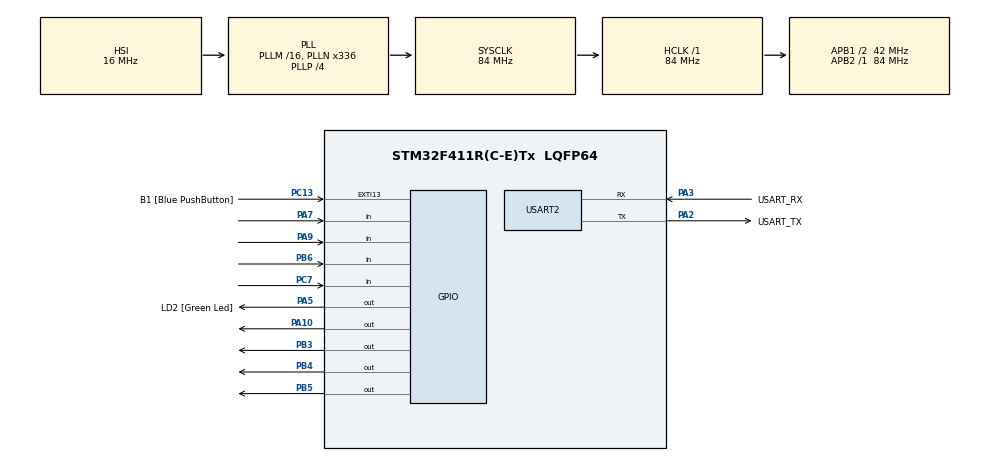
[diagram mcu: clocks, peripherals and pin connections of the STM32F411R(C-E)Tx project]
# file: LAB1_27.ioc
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Mcu.Family=STM32F4
Mcu.Name=STM32F411R(C-E)Tx
Mcu.Package=LQFP64
NVIC.PriorityGroup=NVIC_PRIORITYGROUP_0
PA10.PinState=GPIO_PIN_SET
PA10.Signal=GPIO_Output
PA13.GPIO_Label=TMS
PA13.Mode=Serial_Wire
PA13.Signal=SYS_JTMS-SWDIO
PA14.GPIO_Label=TCK
PA14.Mode=Serial_Wire
PA14.Signal=SYS_JTCK-SWCLK
PA2.GPIO_Label=USART_TX
PA2.Mode=Asynchronous
PA2.Signal=USART2_TX
PA3.GPIO_Label=USART_RX
PA3.Mode=Asynchronous
PA3.Signal=USART2_RX
PA5.GPIO_Label=LD2 [Green Led]
PA5.Signal=GPIO_Output
PA7.GPIO_PuPd=GPIO_PULLUP
PA7.Signal=GPIO_Input
PA9.GPIO_PuPd=GPIO_PULLUP
PA9.Signal=GPIO_Input
PB3.PinState=GPIO_PIN_SET
PB3.Signal=GPIO_Output
PB4.PinState=GPIO_PIN_SET
PB4.Signal=GPIO_Output
PB5.PinState=GPIO_PIN_SET
PB5.Signal=GPIO_Output
PB6.GPIO_PuPd=GPIO_PULLUP
PB6.Signal=GPIO_Input
PC13-ANTI_TAMP.GPIO_Label=B1 [Blue PushButton]
PC13-ANTI_TAMP.GPIO_ModeDefaultEXTI=GPIO_MODE_IT_FALLING
PC13-ANTI_TAMP.Signal=GPXTI13
PC14-OSC32_IN.Mode=LSE-External-Oscillator
PC14-OSC32_IN.Signal=RCC_OSC32_IN
PC15-OSC32_OUT.Mode=LSE-External-Oscillator
PC15-OSC32_OUT.Signal=RCC_OSC32_OUT
PC7.GPIO_PuPd=GPIO_PULLUP
PC7.Signal=GPIO_Input
PH0\ -\ OSC_IN.Mode=HSE-External-Clock-Source
PH0\ -\ OSC_IN.Signal=RCC_OSC_IN
PH1\ -\ OSC_OUT.Mode=HSE-External-Clock-Source
PH1\ -\ OSC_OUT.Signal=RCC_OSC_OUT
ProjectManager.HeapSize=0x200
ProjectManager.StackSize=0x400
ProjectManager.TargetToolchain=STM32CubeIDE
RCC.48MHZClocksFreq_Value=84000000
RCC.AHBFreq_Value=84000000
RCC.APB1CLKDivider=RCC_HCLK_DIV2
RCC.APB1Freq_Value=42000000
RCC.APB1TimFreq_Value=84000000
RCC.APB2Freq_Value=84000000
RCC.APB2TimFreq_Value=84000000
RCC.CortexFreq_Value=84000000
RCC.FLatency-AdvancedSettings=FLASH_LATENCY_2
RCC.HCLKFreq_Value=84000000
RCC.HSE_VALUE=8000000
RCC.HSI_VALUE=16000000
RCC.PLLN=336
RCC.PLLP=RCC_PLLP_DIV4
RCC.SYSCLKFreq_VALUE=84000000
RCC.SYSCLKSource=RCC_SYSCLKSOURCE_PLLCLK
RCC.VCOOutputFreq_Value=336000000
USART2.VirtualMode=VM_ASYNC
board=NUCLEO-F411RE

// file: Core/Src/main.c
/* USER CODE BEGIN Header */
/**
  ******************************************************************************
  * @file           : main.c
  * @brief          : Main program body
  ******************************************************************************
  * @attention
  *
  * Copyright (c) 2023 STMicroelectronics.
  * All rights reserved.
  *
  * This software is licensed under terms that can be found in the LICENSE file
  * in the root directory of this software component.
  * If no LICENSE file comes with this software, it is provided AS-IS.
  *
  ******************************************************************************
  */
/* USER CODE END Header */
#include "main.h"

/* USER CODE BEGIN Includes */
//TANAPAT SEINGSAI
/* USER CODE END Includes */

UART_HandleTypeDef huart2;

/* USER CODE BEGIN PV */
typedef struct PortPin
{
	GPIO_TypeDef* PORT;
	uint16_t PIN;
} PortPin;

PortPin R[4] =
{
	{GPIOA,GPIO_PIN_10},
	{GPIOB,GPIO_PIN_3},
	{GPIOB,GPIO_PIN_5},
	{GPIOB,GPIO_PIN_4}
};

PortPin L[4] =
{
	{GPIOA,GPIO_PIN_9},
	{GPIOC,GPIO_PIN_7},
	{GPIOB,GPIO_PIN_6},
	{GPIOA,GPIO_PIN_7}
};

uint16_t ButtonMatrix = 0;
int state = 0;
int Push_B = 0;
uint16_t ButtonMatrix_I = 0;
int n = 0;
/* USER CODE END PV */

void SystemClock_Config(void);
static void MX_GPIO_Init(void);
static void MX_USART2_UART_Init(void);
/* USER CODE BEGIN PFP */
void ReadMatrixButton_1Row();
/* USER CODE END PFP */

int main(void)
{

  /* MCU Configuration--------------------------------------------------------*/

  /* Reset of all peripherals, Initializes the Flash interface and the Systick. */
  HAL_Init();

  /* Configure the system clock */
  SystemClock_Config();

  /* Initialize all configured peripherals */
  MX_GPIO_Init();
  MX_USART2_UART_Init();

  /* Infinite loop */
  while (1)
  {
//		HAL_GPIO_WritePin(GPIOA, GPIO_PIN_5, 1);

    /* USER CODE BEGIN 3 */
		static uint32_t timestamp = 0;
		if (HAL_GetTick() >= timestamp) {
			timestamp = HAL_GetTick() + 10;
			ReadMatrixButton_1Row();
			//Check rising edge
			if (ButtonMatrix > ButtonMatrix_I)
			{
				Push_B = 1;
			}
			else
			{
				Push_B = 0;
			}
			ButtonMatrix_I = ButtonMatrix;
			//Student number : 64340500027
			switch (state) {
			case 0: //state init
				if (ButtonMatrix == 0) {
					state = 0;
					HAL_GPIO_WritePin(GPIOA, GPIO_PIN_5, 0);
				}
				if (ButtonMatrix == 512 && Push_B == 1) {
					state = 1;
					n += 1;
				}
				if (ButtonMatrix != 512 && Push_B == 1) {
					state = 13;
				}
				if (ButtonMatrix == 8192 && Push_B == 1) {
					state = 0;
				}
				break;

			case 1: //6
				if (ButtonMatrix == 2 && Push_B == 1) {
					state = 2;
					n += 1;
				}
				if (ButtonMatrix != 2 && Push_B == 1) {
					state = 13;
				}
				if (ButtonMatrix == 4096 && Push_B == 1) {
					state = 0;
					n = 0;
				}
				if (ButtonMatrix == 8192 && Push_B == 1) {
					state = 0;
					n = n-1;
				}
				break;

			case 2: //64
				if (ButtonMatrix == 1024 && Push_B == 1) {
					state = 3;
					n += 1;
				}
				if (ButtonMatrix != 1024 && Push_B == 1) {
					state = 13;
				}
				if (ButtonMatrix == 4096 && Push_B == 1) {
					state = 0;
					n = 0;
				}
				if (ButtonMatrix == 8192 && Push_B == 1) {
					state = 1;
					n = n-1;
				}
				break;

			case 3: //643
				if (ButtonMatrix == 2 && Push_B == 1) {
					state = 4;
					n += 1;
				}
				if (ButtonMatrix != 2 && Push_B == 1) {
					state = 13;
				}
				if (ButtonMatrix == 4096 && Push_B == 1) {
					state = 0;
					n = 0;
				}
				if (ButtonMatrix == 8192 && Push_B == 1) {
					state = 2;
					n = n-1;
				}
				break;

			case 4: //6434
				if (ButtonMatrix == 8 && Push_B == 1) {
					state = 5;
					n += 1;
				}
				if (ButtonMatrix != 8 && Push_B == 12) {
					state = 13;
				}
				if (ButtonMatrix == 4096 && Push_B == 1) {
					state = 0;
					n = 0;
				}
				if (ButtonMatrix == 8192 && Push_B == 1) {
					state = 3;
					n = n-1;
				}
				break;

			case 5: //64340
				if (ButtonMatrix == 32 && Push_B == 1) {
					state = 6;
					n += 1;
				}
				if (ButtonMatrix != 32 && Push_B == 1) {
					state = 13;
				}
				if (ButtonMatrix == 4096 && Push_B == 1) {
					state = 0;
					n = 0;
				}
				if (ButtonMatrix == 8192 && Push_B == 1) {
					state = 4;
					n = n-1;
				}
				break;

			case 6: //643405
				if (ButtonMatrix == 8 && Push_B == 1) {
					state = 7;
					n += 1;
				}
				if (ButtonMatrix != 8 && Push_B == 1) {
					state = 13;
				}
				if (ButtonMatrix == 4096 && Push_B == 1) {
					state = 0;
					n = 0;
				}
				if (ButtonMatrix == 8192 && Push_B == 1) {
					state = 5;
					n = n-1;
				}
				break;

			case 7: //6434050
				if (ButtonMatrix == 8 && Push_B == 1) {
					state = 8;
					n += 1;
				}
				if (ButtonMatrix != 8 && Push_B == 1) {
					state = 13;
				}
				if (ButtonMatrix == 4096 && Push_B == 1) {
					state = 0;
					n = 0;
				}
				if (ButtonMatrix == 8192 && Push_B == 1) {
					state = 6;
					n = n-1;
				}
				break;

			case 8: //64340500
				if (ButtonMatrix == 8 && Push_B == 1) {
					state = 9;
					n += 1;
				}
				if (ButtonMatrix != 8 && Push_B == 1) {
					state = 13;
				}
				if (ButtonMatrix == 4096 && Push_B == 1) {
					state = 0;
					n = 0;
				}
				if (ButtonMatrix == 8192 && Push_B == 1) {
					state = 7;
					n = n-1;
				}
				break;

			case 9: //643405000
				if (ButtonMatrix == 64 && Push_B == 1) {
					state = 10;
					n += 1;
				}
				if (ButtonMatrix != 64 && Push_B == 1) {
					state = 13;
				}
				if (ButtonMatrix == 4096 && Push_B == 1) {
					state = 0;
					n = 0;
				}
				if (ButtonMatrix == 8192 && Push_B == 1) {
					state = 8;
					n = n-1;
				}
				break;

			case 10: //6434050002
				if (ButtonMatrix == 1 && Push_B == 1) {
					state = 11;
					n += 1;
				}
				if (ButtonMatrix != 1 && Push_B == 1) {
					state = 13;
				}
				if (ButtonMatrix == 4096 && Push_B == 1) {
					state = 0;
					n = 0;
				}
				if (ButtonMatrix == 8192 && Push_B == 1) {
					state = 9;
					n = n-1;
				}
				break;

			case 11: //64340500027
				if (ButtonMatrix == 32768 && Push_B == 1) {
					state = 12;
					n += 1;
				}
				if (ButtonMatrix != 32768 && Push_B == 1) {
					state = 13;
				}
				if (ButtonMatrix == 4096 && Push_B == 1) {
					state = 0;
					n = 0;
				}
				if (ButtonMatrix == 8192 && Push_B == 1) {
					state = 10;
					n = n-1;
				}
				break;

			case 12: //OK -> LED_ON
				if (ButtonMatrix == 0) {
					HAL_GPIO_WritePin(GPIOA, GPIO_PIN_5, 1);
					state = 12;
				}
				if (ButtonMatrix == 4096 && Push_B == 1) {
					state = 0;
				}
				break;

			case 13: //blank state
				if (ButtonMatrix == 4096 && Push_B == 1) {
					state = 0;
				}
				if (ButtonMatrix == 8192 && Push_B == 1) {
					state = n;
				}
				break;
			}
		}
  }
  /* USER CODE END 3 */
}

void SystemClock_Config(void)
{
  RCC_OscInitTypeDef RCC_OscInitStruct = {0};
  RCC_ClkInitTypeDef RCC_ClkInitStruct = {0};

  /** Configure the main internal regulator output voltage
  */
  __HAL_RCC_PWR_CLK_ENABLE();
  __HAL_PWR_VOLTAGESCALING_CONFIG(PWR_REGULATOR_VOLTAGE_SCALE1);

  /** Initializes the RCC Oscillators according to the specified parameters
  * in the RCC_OscInitTypeDef structure.
  */
  RCC_OscInitStruct.OscillatorType = RCC_OSCILLATORTYPE_HSI;
  RCC_OscInitStruct.HSIState = RCC_HSI_ON;
  RCC_OscInitStruct.HSICalibrationValue = RCC_HSICALIBRATION_DEFAULT;
  RCC_OscInitStruct.PLL.PLLState = RCC_PLL_ON;
  RCC_OscInitStruct.PLL.PLLSource = RCC_PLLSOURCE_HSI;
  RCC_OscInitStruct.PLL.PLLM = 16;
  RCC_OscInitStruct.PLL.PLLN = 336;
  RCC_OscInitStruct.PLL.PLLP = RCC_PLLP_DIV4;
  RCC_OscInitStruct.PLL.PLLQ = 4;
  if (HAL_RCC_OscConfig(&RCC_OscInitStruct) != HAL_OK)
  {
    Error_Handler();
  }

  /** Initializes the CPU, AHB and APB buses clocks
  */
  RCC_ClkInitStruct.ClockType = RCC_CLOCKTYPE_HCLK|RCC_CLOCKTYPE_SYSCLK
                              |RCC_CLOCKTYPE_PCLK1|RCC_CLOCKTYPE_PCLK2;
  RCC_ClkInitStruct.SYSCLKSource = RCC_SYSCLKSOURCE_PLLCLK;
  RCC_ClkInitStruct.AHBCLKDivider = RCC_SYSCLK_DIV1;
  RCC_ClkInitStruct.APB1CLKDivider = RCC_HCLK_DIV2;
  RCC_ClkInitStruct.APB2CLKDivider = RCC_HCLK_DIV1;

  if (HAL_RCC_ClockConfig(&RCC_ClkInitStruct, FLASH_LATENCY_2) != HAL_OK)
  {
    Error_Handler();
  }
}

static void MX_USART2_UART_Init(void)
{

  huart2.Instance = USART2;
  huart2.Init.BaudRate = 115200;
  huart2.Init.WordLength = UART_WORDLENGTH_8B;
  huart2.Init.StopBits = UART_STOPBITS_1;
  huart2.Init.Parity = UART_PARITY_NONE;
  huart2.Init.Mode = UART_MODE_TX_RX;
  huart2.Init.HwFlowCtl = UART_HWCONTROL_NONE;
  huart2.Init.OverSampling = UART_OVERSAMPLING_16;
  if (HAL_UART_Init(&huart2) != HAL_OK)
  {
    Error_Handler();
  }

}

static void MX_GPIO_Init(void)
{
  GPIO_InitTypeDef GPIO_InitStruct = {0};

  /* GPIO Ports Clock Enable */
  __HAL_RCC_GPIOC_CLK_ENABLE();
  __HAL_RCC_GPIOH_CLK_ENABLE();
  __HAL_RCC_GPIOA_CLK_ENABLE();
  __HAL_RCC_GPIOB_CLK_ENABLE();

  /*Configure GPIO pin Output Level */
  HAL_GPIO_WritePin(LD2_GPIO_Port, LD2_Pin, GPIO_PIN_RESET);

  /*Configure GPIO pin Output Level */
  HAL_GPIO_WritePin(GPIOA, GPIO_PIN_10, GPIO_PIN_SET);

  /*Configure GPIO pin Output Level */
  HAL_GPIO_WritePin(GPIOB, GPIO_PIN_3|GPIO_PIN_4|GPIO_PIN_5, GPIO_PIN_SET);

  /*Configure GPIO pin : B1_Pin */
  GPIO_InitStruct.Pin = B1_Pin;
  GPIO_InitStruct.Mode = GPIO_MODE_IT_FALLING;
  GPIO_InitStruct.Pull = GPIO_NOPULL;
  HAL_GPIO_Init(B1_GPIO_Port, &GPIO_InitStruct);

  /*Configure GPIO pins : LD2_Pin PA10 */
  GPIO_InitStruct.Pin = LD2_Pin|GPIO_PIN_10;
  GPIO_InitStruct.Mode = GPIO_MODE_OUTPUT_PP;
  GPIO_InitStruct.Pull = GPIO_NOPULL;
  GPIO_InitStruct.Speed = GPIO_SPEED_FREQ_LOW;
  HAL_GPIO_Init(GPIOA, &GPIO_InitStruct);

  /*Configure GPIO pins : PA7 PA9 */
  GPIO_InitStruct.Pin = GPIO_PIN_7|GPIO_PIN_9;
  GPIO_InitStruct.Mode = GPIO_MODE_INPUT;
  GPIO_InitStruct.Pull = GPIO_PULLUP;
  HAL_GPIO_Init(GPIOA, &GPIO_InitStruct);

  /*Configure GPIO pin : PC7 */
  GPIO_InitStruct.Pin = GPIO_PIN_7;
  GPIO_InitStruct.Mode = GPIO_MODE_INPUT;
  GPIO_InitStruct.Pull = GPIO_PULLUP;
  HAL_GPIO_Init(GPIOC, &GPIO_InitStruct);

  /*Configure GPIO pins : PB3 PB4 PB5 */
  GPIO_InitStruct.Pin = GPIO_PIN_3|GPIO_PIN_4|GPIO_PIN_5;
  GPIO_InitStruct.Mode = GPIO_MODE_OUTPUT_PP;
  GPIO_InitStruct.Pull = GPIO_NOPULL;
  GPIO_InitStruct.Speed = GPIO_SPEED_FREQ_LOW;
  HAL_GPIO_Init(GPIOB, &GPIO_InitStruct);

  /*Configure GPIO pin : PB6 */
  GPIO_InitStruct.Pin = GPIO_PIN_6;
  GPIO_InitStruct.Mode = GPIO_MODE_INPUT;
  GPIO_InitStruct.Pull = GPIO_PULLUP;
  HAL_GPIO_Init(GPIOB, &GPIO_InitStruct);

}

/* USER CODE BEGIN 4 */
void ReadMatrixButton_1Row()
{
	//
	static uint8_t X = 0;

	register int i;
	for(i=0;i<4;i++)
	{
		if(HAL_GPIO_ReadPin(L[i].PORT, L[i].PIN))
		{
			ButtonMatrix &= ~(1<<(X*4+i));
		}
		else
		{
			ButtonMatrix |= 1<<(X*4+i);
		}
	}
	HAL_GPIO_WritePin(R[X].PORT, R[X].PIN, 1);
	HAL_GPIO_WritePin(R[(X+1)%4].PORT, R[(X+1)%4].PIN, 0);
	X++;
	X%=4;
}
/* USER CODE END 4 */

void Error_Handler(void)
{
  __disable_irq();
  while (1)
  {
  }
}
